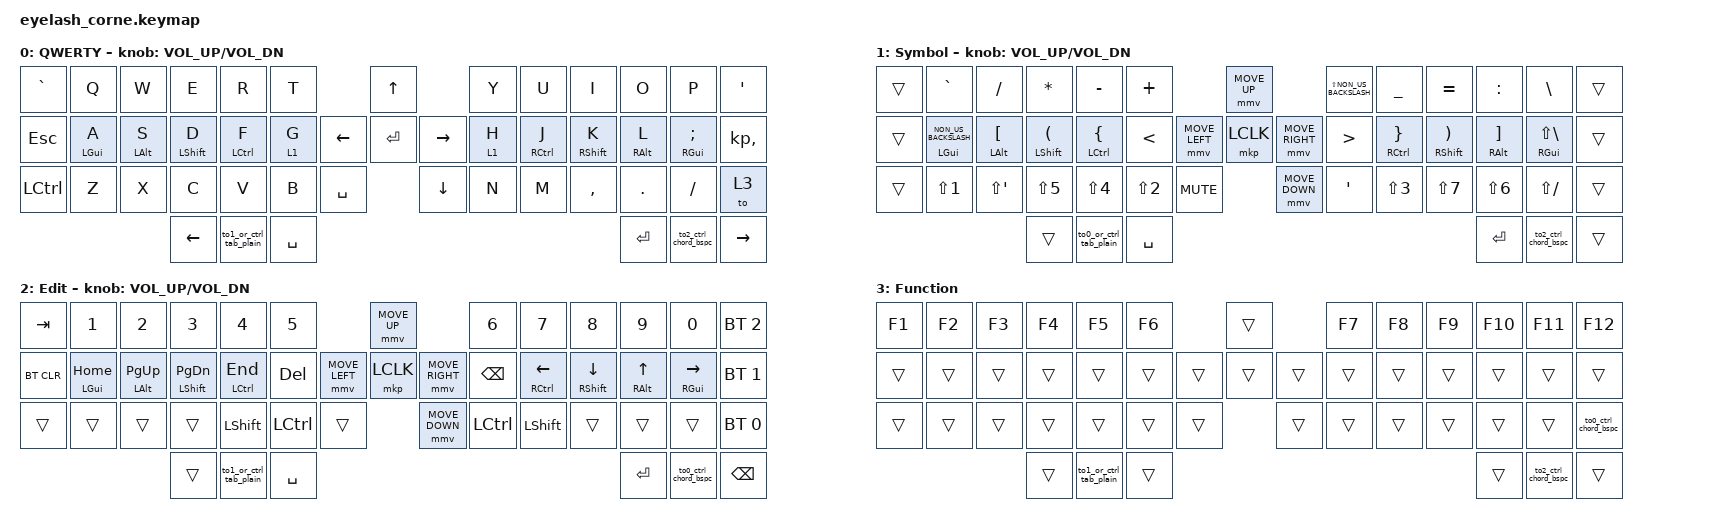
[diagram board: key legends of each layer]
#include <zephyr/dt-bindings/input/input-event-codes.h>
#include <behaviors.dtsi>
#include <dt-bindings/zmk/bt.h>
#include <dt-bindings/zmk/keys.h>
#include <dt-bindings/zmk/modifiers.h>
#include <dt-bindings/zmk/pointing.h>
#include <dt-bindings/zmk/rgb.h>

&soft_off { hold-time-ms = <2000>; };

/ {
    behaviors {
        hrm: hrm {
            compatible = "zmk,behavior-hold-tap";
            #binding-cells = <2>;
            flavor = "balanced";
            tapping-term-ms = <140>;
            bindings = <&kp>, <&kp>;
        };

        hrm_outer: hrm_outer {
            compatible = "zmk,behavior-hold-tap";
            #binding-cells = <2>;
            flavor = "balanced";
            tapping-term-ms = <150>;
            bindings = <&kp>, <&kp>;
        };

        sym_hold_outer: sym_hold_outer {
            compatible = "zmk,behavior-hold-tap";
            #binding-cells = <2>;
            flavor = "balanced";
            tapping-term-ms = <140>;
            bindings = <&mo>, <&kp>;
        };

        to1_or_ctrl_tab_plain: to1_or_ctrl_tab_plain {
            compatible = "zmk,behavior-mod-morph";
            #binding-cells = <0>;
            bindings = <&to 1>, <&kp TAB>;
            mods = <(MOD_LCTL|MOD_RCTL)>;
        };

        to2_or_rctrl_bspc_plain: to2_or_rctrl_bspc_plain {
            compatible = "zmk,behavior-mod-morph";
            #binding-cells = <0>;
            bindings = <&to 2>, <&kp BACKSPACE>;
            mods = <(MOD_RCTL)>;
        };

        lctrl_then_rctrl_ctrl_bspc: lctrl_then_rctrl_ctrl_bspc {
            compatible = "zmk,behavior-mod-morph";
            #binding-cells = <0>;
            bindings = <&kp BACKSPACE>, <&kp BACKSPACE>;
            mods = <(MOD_RCTL)>;
            keep-mods = <(MOD_RCTL)>;
        };

        to2_ctrl_chord_bspc: to2_ctrl_chord_bspc {
            compatible = "zmk,behavior-mod-morph";
            #binding-cells = <0>;
            bindings = <&to2_or_rctrl_bspc_plain>, <&lctrl_then_rctrl_ctrl_bspc>;
            mods = <(MOD_LCTL)>;
        };

        to0_or_rctrl_bspc_plain: to0_or_rctrl_bspc_plain {
            compatible = "zmk,behavior-mod-morph";
            #binding-cells = <0>;
            bindings = <&to 0>, <&kp BACKSPACE>;
            mods = <(MOD_RCTL)>;
        };

        to0_ctrl_chord_bspc: to0_ctrl_chord_bspc {
            compatible = "zmk,behavior-mod-morph";
            #binding-cells = <0>;
            bindings = <&to0_or_rctrl_bspc_plain>, <&lctrl_then_rctrl_ctrl_bspc>;
            mods = <(MOD_LCTL)>;
        };

        to0_or_ctrl_tab_plain: to0_or_ctrl_tab_plain {
            compatible = "zmk,behavior-mod-morph";
            #binding-cells = <0>;
            bindings = <&to 0>, <&kp TAB>;
            mods = <(MOD_LCTL|MOD_RCTL)>;
        };
    };

    rgb_encoder: rgb_encoder {
        compatible = "zmk,behavior-sensor-rotate";
        #sensor-binding-cells = <0>;
        bindings = <&rgb_ug RGB_BRI>, <&rgb_ug RGB_BRD>;
    };

    combos {
        compatible = "zmk,combos";

        softoff {
            bindings = <&soft_off>;
            key-positions = <1 15 29>;
        };
    };

    keymap {
        compatible = "zmk,keymap";

        default_layer {
            display-name = "QWERTY";
            bindings = <
&kp GRAVE  &kp Q       &kp W       &kp E        &kp R        &kp T                             &kp UP                &kp Y      &kp U          &kp I        &kp O       &kp P          &kp SQT
&kp ESC    &hrm_outer LGUI A  &hrm LALT S  &hrm LSHFT D  &hrm LCTRL F  &sym_hold_outer 1 G      &kp LEFT  &kp ENTER  &kp RIGHT  &sym_hold_outer 1 H  &hrm RCTRL J    &hrm RSHFT K  &hrm RALT L  &hrm_outer RGUI SEMI  &kp KP_COMMA
&kp LCTRL  &kp Z       &kp X       &kp C        &kp V        &kp B      &kp SPACE              &kp DOWN              &kp N      &kp M          &kp COMMA    &kp DOT     &kp FSLH       &to 3
                                   &kp LEFT     &to1_or_ctrl_tab_plain  &kp SPACE                                               &kp ENTER  &to2_ctrl_chord_bspc  &kp RIGHT
            >;

            sensor-bindings = <&inc_dec_kp C_VOLUME_UP C_VOL_DN>;
        };

        lower_layer {
            display-name = "Symbol";
            bindings = <
&trans  &kp GRAVE             &kp SLASH         &kp ASTRK             &kp MINUS         &kp PLUS                                        &mmv MOVE_UP                     &kp LS(NON_US_BACKSLASH)  &kp UNDER         &kp EQUAL              &kp COLON          &kp BACKSLASH      &trans
&trans  &hrm_outer LGUI NON_US_BACKSLASH  &hrm LALT LEFT_BRACKET  &hrm LSHFT LEFT_PARENTHESIS  &hrm LCTRL LEFT_BRACE    &kp LT                          &mmv MOVE_LEFT  &mkp LCLK       &mmv MOVE_RIGHT  &kp GT                    &hrm RCTRL RIGHT_BRACE   &hrm RSHFT RIGHT_PARENTHESIS  &hrm RALT RIGHT_BRACKET  &hrm_outer RGUI LS(BACKSLASH)  &trans
&trans  &kp LS(NUMBER_1)      &kp LS(SQT)       &kp LS(N5)            &kp LS(NUMBER_4)  &kp LS(NUMBER_2)  &kp C_MUTE                    &mmv MOVE_DOWN                   &kp SINGLE_QUOTE          &kp LS(NUMBER_3)  &kp LS(N7)             &kp LS(NUMBER_6)   &kp LS(SLASH)      &trans
                                                  &trans    &to0_or_ctrl_tab_plain        &kp SPACE                                                                        &kp ENTER         &to2_ctrl_chord_bspc        &trans            
            >;

            sensor-bindings = <&inc_dec_kp C_VOLUME_UP C_VOL_DN>;
        };

        raise_layer {
            display-name = "Edit";
            bindings = <
&kp TAB  &kp NUMBER_1  &kp N2       &kp NUMBER_3   &kp NUMBER_4    &kp N5                               &mmv MOVE_UP                     &kp NUMBER_6   &kp N7          &kp N8    &kp N9        &kp N0     &bt BT_SEL 2
&bt BT_CLR   &hrm_outer LGUI HOME      &hrm LALT PAGE_UP  &hrm LSHFT PAGE_DOWN  &hrm LCTRL END         &kp DEL              &mmv MOVE_LEFT  &mkp LCLK       &mmv MOVE_RIGHT  &kp BACKSPACE  &hrm RCTRL LEFT_ARROW  &hrm RSHFT DOWN  &hrm RALT UP_ARROW  &hrm_outer RGUI RIGHT  &bt BT_SEL 1
&trans   &trans        &trans       &trans         &kp LEFT_SHIFT  &kp LCTRL  &trans                    &mmv MOVE_DOWN                   &kp LCTRL      &kp LEFT_SHIFT  &trans    &trans        &trans     &bt BT_SEL 0
                                      &trans      &to1_or_ctrl_tab_plain    &kp SPACE                                                             &kp ENTER    &to0_ctrl_chord_bspc   &kp BACKSPACE   
            >;

            sensor-bindings = <&inc_dec_kp C_VOLUME_UP C_VOL_DN>;
        };

        layer_3 {
            bindings = <
&kp F1  &kp F2  &kp F3  &kp F4  &kp F5  &kp F6                    &trans          &kp F7  &kp F8  &kp F9  &kp F10  &kp F11  &kp F12
&trans  &trans  &trans  &trans  &trans  &trans            &trans  &trans  &trans  &trans  &trans  &trans  &trans   &trans   &trans
&trans  &trans  &trans  &trans  &trans  &trans  &trans            &trans          &trans  &trans  &trans  &trans   &trans   &to0_ctrl_chord_bspc
                           &trans &to1_or_ctrl_tab_plain &trans                                    &trans &to2_ctrl_chord_bspc &trans  
            >;

            label = "Function";
        };
    };
};
